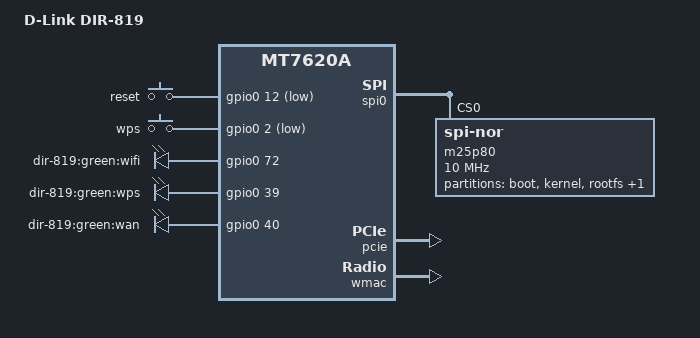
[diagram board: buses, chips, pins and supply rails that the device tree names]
/dts-v1/;

#include "mt7620a.dtsi"

#include <dt-bindings/input/input.h>

/ {
	compatible = "dlink,dir-819", "ralink,mt7620a-soc";
	model = "D-Link DIR-819";
        
        chosen {
		bootargs = "console=ttyS0,115200";
	};

	gpio-keys-polled {
		compatible = "gpio-keys-polled";
		#address-cells = <1>;
		#size-cells = <0>;
		poll-interval = <20>;

		reset {
			label = "reset";
			gpios = <&gpio0 12 1>;
			linux,code = <BTN_0>;
		};

		wps {
			label = "wps";
			gpios = <&gpio0 2 1>;
			linux,code = <BTN_0>;
		};
	};

	gpio-leds {
		compatible = "gpio-leds";

		wifi {
			label = "dir-819:green:wifi";
			gpios = <&gpio0 72 0>;
		};
		
		wps {
			label = "dir-819:green:wps";
			gpios = <&gpio0 39 0>;
		};

		wan {
			label = "dir-819:green:wan";
			gpios = <&gpio0 40 0>;
		};

	};
};

&spi0 {
	status = "okay";

	m25p80@0 {
		#address-cells = <1>;
		#size-cells = <1>;
		compatible = "jedec,spi-nor";
		reg = <0>;
		spi-max-frequency = <10000000>;

		boot: partition@0 {
			label = "boot";
			reg = <0x0 0x30000>;
			read-only;
		};

		partition@30000 {
			label = "kernel";
			reg = <0x30000 0x1d0000>;
			read-only;
		};

		partition@200000 {
			label = "rootfs";
			reg = <0x200000 0x5e0000>;
			read-only;
		};

		partition@7e0000 {
			label = "multi-lang";
			reg = <0x7e0000 0x20000>;
			read-only;
		};

	};
};

&pinctrl {
	state_default: pinctrl0 {
		gpio {
			ralink,group = "mdio", "rgmii1", "i2c", "wled", "uartf";
			ralink,function = "gpio";
		};
	};
};

&ethernet {
	mtd-mac-address = <&boot 0x45a>;
	mediatek,portmap = "llllw";
};

&gsw {
	mediatek,port4 = "ephy";
	pinctrl-names = "default";
	pinctrl-0 = <&ephy_pins>;
};

&pcie {
	status = "okay";
};

&wmac {
	ralink,mtd-eeprom = <&boot 0>;
}; // FIXME: where's the mtd-eeprom?
